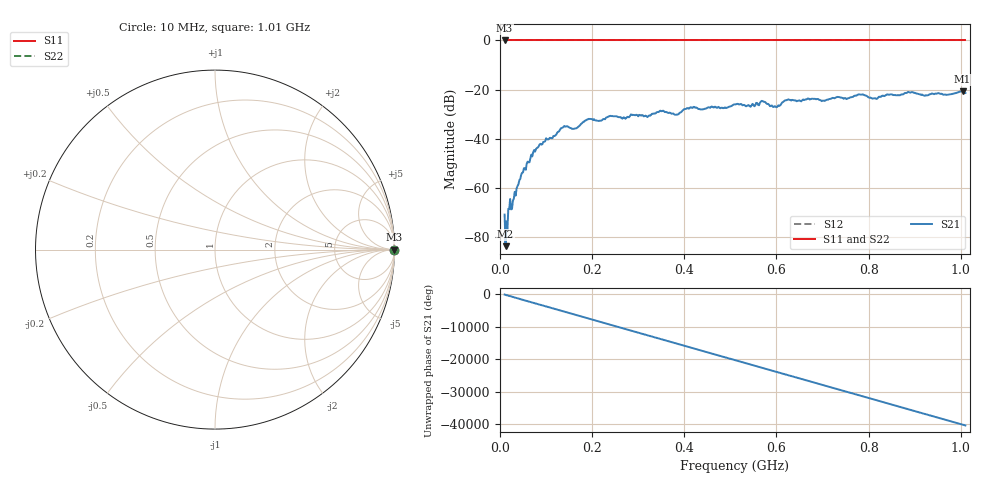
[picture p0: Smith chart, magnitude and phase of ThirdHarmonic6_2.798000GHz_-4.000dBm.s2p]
! 8/17/2025 7:16:22 AM
! C:\ANRITSUVNA\TEMP\TEMP.S2P
! CHANNEL.1
! TR.MEASUREMENT
! RAW.DATA
! RF.CORRECTION.OFF
! AVERAGING.OFF
! IF.BANDWIDTH: 5KHZ
! SWEEPTYPE:  FREQ.SWEEP(Linear)
! Reference Plane Port Info
! PORT:  PORT1  PORT2
! DISTANCE:  0  m  0  m
! TIME:  0  s  0  s
! PHASE.OFFSET:  0  deg.  0  deg.
! LOSS:  0  dB  0  dB
! REF.LOSS:  0  dB  0  dB
! REF.FREQ:  0  Hz  0  Hz
! Power Info
! POWER:  -20  dBm  -20  dBm
! EFF.POWER:  -20  dBm  -20  dBm
! SOURCE.ATTEN:  0  dB  0  dB
! TEST.ATTEN:  0  dB  0  dB
# GHZ S RI R 50.0
! FREQ.GHZ  S11RE  S11IM  S21RE  S21IM  S12RE  S12IM  S22RE  S22IM
!; PortSelection: Port_12
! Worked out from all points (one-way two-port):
!   501 points, 10 MHz to 1.01 GHz, reference 50 ohm
!   highest |S21| = -20.80 dB at 1.004 GHz (marker M1); lowest = -83.9 dB at 12 MHz (marker M2)
!   lowest |S11| = 0.0 dB at 10 MHz (marker M3)
!   |S11| at or under -10 dB: nowhere
!   |S22| runs from 0.0 to 0.0 dB; largest |S21 - S12| = 1.1
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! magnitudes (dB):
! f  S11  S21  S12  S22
! 10 MHz  0.0  -71.0  0.0  0.0
! 12 MHz  0.0  -83.9  0.0  0.0
! 16 MHz  0.0  -77.8  0.0  0.0
! 22 MHz  0.0  -64.6  0.0  0.0
! 48 MHz  0.0  -54.0  0.0  0.0
! 76 MHz  0.0  -45.4  0.0  0.0
! 136 MHz  0.0  -35.5  0.0  0.0
! 162 MHz  0.0  -36.0  0.0  0.0
! 178 MHz  0.0  -33.7  0.0  0.0
! 344 MHz  0.0  -29.2  0.0  0.0
! 384 MHz  0.0  -30.2  0.0  0.0
! 416 MHz  0.0  -27.5  0.0  0.0
! 510 MHz  0.0  -26.0  0.0  0.0
! 570 MHz  0.0  -24.7  0.0  0.0
! 598 MHz  0.0  -27.0  0.0  0.0
! 622 MHz  0.0  -24.4  0.0  0.0
! 678 MHz  0.0  -23.7  0.0  0.0
! 782 MHz  0.0  -22.1  0.0  0.0
! 814 MHz  0.0  -23.5  0.0  0.0
! 844 MHz  0.0  -22.2  0.0  0.0
! 1.004 GHz  0.0  -20.8  0.0  0.0
! 1.01 GHz  0.0  -21.4  0.0  0.0
